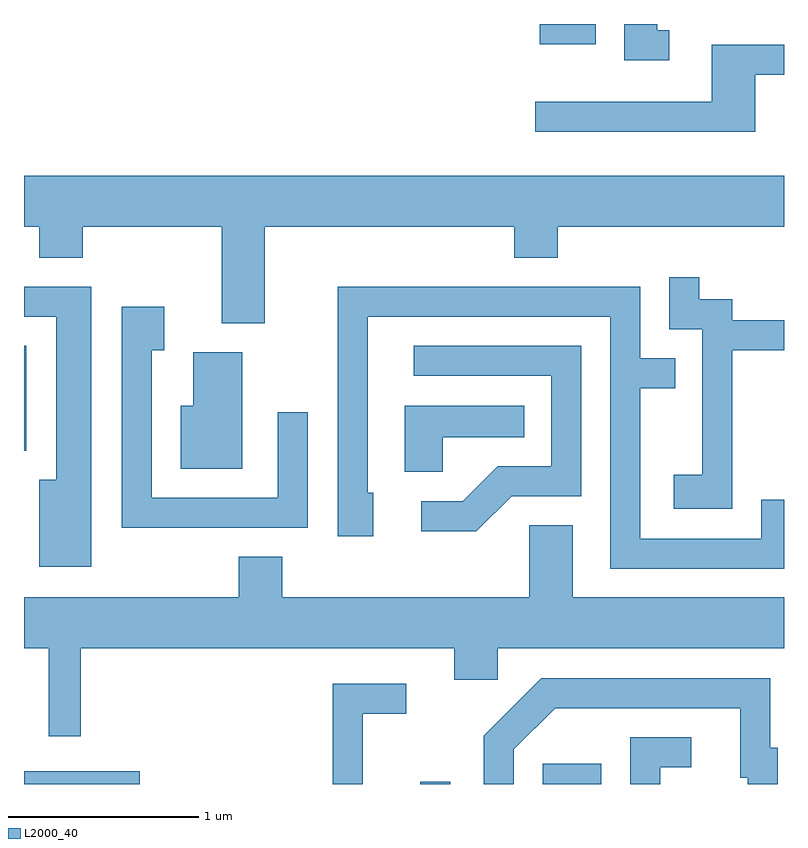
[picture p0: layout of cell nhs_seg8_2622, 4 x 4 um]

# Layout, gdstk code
import gdstk
lib = gdstk.Library(unit=1e-6, precision=1e-09)
def R(c, l, rs):  # rectangles x0, y0, x1, y1
    for r in rs: c.add(gdstk.rectangle(r[:2], r[2:], *l))
def P(c, l, *ps):  # polygons
    for p in ps: c.add(gdstk.Polygon(p, *l))
L2000_40 = (2000, 40)

nhs_seg8_2622 = lib.new_cell('nhs_seg8_2622')
R(nhs_seg8_2622, L2000_40, [(263.611,1862.342,264.219,1862.409), (265.696,1862.342,265.854,1862.353), (266.341,1862.342,266.649,1862.449), (263.611,1864.096,263.624,1864.649), (266.326,1866.236,266.619,1866.342)])
P(nhs_seg8_2622, L2000_40, [(267.008,1866.309),(266.944,1866.309),(266.944,1866.342),(266.771,1866.342),(266.771,1866.151),(267.008,1866.151)],
  [(267.459,1866.076),(267.611,1866.076),(267.611,1866.234),(267.231,1866.234),(267.231,1865.934),(266.303,1865.934),(266.303,1865.776),(267.459,1865.776)],
  [(264.879,1865.276),(266.191,1865.276),(266.191,1865.111),(266.419,1865.111),(266.419,1865.276),(267.611,1865.276),(267.611,1865.544),(263.611,1865.544),(263.611,1865.276),(263.691,1865.276),(263.691,1865.111),(263.919,1865.111),(263.919,1865.276),(264.651,1865.276),(264.651,1864.766),(264.879,1864.766)],
  [(267.339,1864.626),(267.611,1864.626),(267.611,1864.784),(267.339,1864.784),(267.339,1864.894),(267.164,1864.894),(267.164,1865.008),(267.006,1865.008),(267.006,1864.736),(267.181,1864.736),(267.181,1863.969),(267.031,1863.969),(267.031,1863.791),(267.339,1863.791)],
  [(267.611,1863.839),(267.491,1863.839),(267.491,1863.634),(266.854,1863.634),(266.854,1864.426),(267.038,1864.426),(267.038,1864.584),(266.854,1864.584),(266.854,1864.959),(265.261,1864.959),(265.261,1863.646),(265.449,1863.646),(265.449,1863.874),(265.419,1863.874),(265.419,1864.801),(266.696,1864.801),(266.696,1863.476),(267.611,1863.476)],
  [(263.964,1864.959),(263.611,1864.959),(263.611,1864.801),(263.781,1864.801),(263.781,1863.944),(263.691,1863.944),(263.691,1863.486),(263.964,1863.486)],
  [(265.104,1864.298),(264.946,1864.298),(264.946,1863.849),(264.284,1863.849),(264.284,1864.626),(264.349,1864.626),(264.349,1864.854),(264.126,1864.854),(264.126,1863.691),(265.104,1863.691)],
  [(266.177,1863.856),(266.544,1863.856),(266.544,1864.649),(265.663,1864.649),(265.663,1864.491),(266.386,1864.491),(266.386,1864.014),(266.104,1864.014),(265.919,1863.829),(265.703,1863.829),(265.703,1863.671),(265.992,1863.671)],
  [(264.759,1864.614),(264.501,1864.614),(264.501,1864.334),(264.436,1864.334),(264.436,1864.001),(264.759,1864.001)],
  [(265.814,1864.166),(266.243,1864.166),(266.243,1864.334),(265.616,1864.334),(265.616,1863.986),(265.814,1863.986)],
  [(263.909,1863.056),(265.876,1863.056),(265.876,1862.891),(266.104,1862.891),(266.104,1863.056),(267.611,1863.056),(267.611,1863.324),(266.499,1863.324),(266.499,1863.704),(266.271,1863.704),(266.271,1863.324),(264.969,1863.324),(264.969,1863.539),(264.741,1863.539),(264.741,1863.324),(263.611,1863.324),(263.611,1863.056),(263.741,1863.056),(263.741,1862.593),(263.909,1862.593)],
  [(266.189,1862.524),(266.407,1862.741),(267.381,1862.741),(267.381,1862.376),(267.421,1862.376),(267.421,1862.342),(267.579,1862.342),(267.579,1862.534),(267.539,1862.534),(267.539,1862.899),(266.334,1862.899),(266.031,1862.597),(266.031,1862.342),(266.189,1862.342)],
  [(265.394,1862.711),(265.623,1862.711),(265.623,1862.869),(265.236,1862.869),(265.236,1862.342),(265.394,1862.342)],
  [(266.959,1862.431),(267.123,1862.431),(267.123,1862.589),(266.801,1862.589),(266.801,1862.342),(266.959,1862.342)])

lib.write_gds('nhs_seg8_2622.gds')
